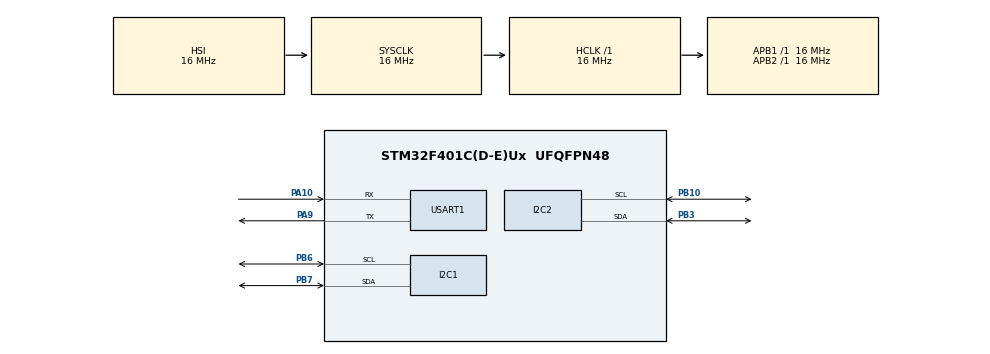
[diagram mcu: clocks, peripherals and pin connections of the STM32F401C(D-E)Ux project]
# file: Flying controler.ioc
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Mcu.Family=STM32F4
Mcu.Name=STM32F401C(D-E)Ux
Mcu.Package=UFQFPN48
NVIC.PriorityGroup=NVIC_PRIORITYGROUP_4
PA10.Mode=Asynchronous
PA10.Signal=USART1_RX
PA9.Mode=Asynchronous
PA9.Signal=USART1_TX
PB10.Mode=I2C
PB10.Signal=I2C2_SCL
PB3.Mode=I2C
PB3.Signal=I2C2_SDA
PB6.Mode=I2C
PB6.Signal=I2C1_SCL
PB7.Mode=I2C
PB7.Signal=I2C1_SDA
ProjectManager.HeapSize=0x200
ProjectManager.StackSize=0x400
ProjectManager.TargetToolchain=STM32CubeIDE
RCC.AHBFreq_Value=16000000
RCC.APB1Freq_Value=16000000
RCC.APB2Freq_Value=16000000
RCC.CortexFreq_Value=16000000
RCC.HSE_VALUE=25000000
RCC.HSI_VALUE=16000000
RCC.LSE_VALUE=32768
RCC.SYSCLKFreq_VALUE=16000000
RCC.VCOOutputFreq_Value=192000000
USART1.VirtualMode=VM_ASYNC
board=custom

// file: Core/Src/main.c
/* USER CODE BEGIN Header */
/**
  ******************************************************************************
  * @file           : main.c
  * @brief          : Main program body
  ******************************************************************************
  * @attention
  *
  * Copyright (c) 2023 STMicroelectronics.
  * All rights reserved.
  *
  * This software is licensed under terms that can be found in the LICENSE file
  * in the root directory of this software component.
  * If no LICENSE file comes with this software, it is provided AS-IS.
  *
  ******************************************************************************
  */
/* USER CODE END Header */
#include "main.h"

I2C_HandleTypeDef hi2c1;
I2C_HandleTypeDef hi2c2;

UART_HandleTypeDef huart1;

void SystemClock_Config(void);
static void MX_GPIO_Init(void);
static void MX_I2C1_Init(void);
static void MX_I2C2_Init(void);
static void MX_USART1_UART_Init(void);

int main(void)
{
  /* USER CODE BEGIN 1 */
	float arr_accel_x, arr_accel_y, arr_accel_z, arr_gyro_x, arr_gyro_y, arr_gyro_z;
	float Kalman_accel_x, Kalman_accel_y, Kalman_accel_z, Kalman_gyro_x, Kalman_gyro_y, Kalman_gyro_z;
	float start_pressure = 0;
	float start_temperature = 0;
	float StartHeight = 0;
	float pressure = 0;
	float temperature = 0;
	float height = 0;
	float DeltaHeight = 0;
	BMP280_CalibData calib_data;
  /* USER CODE END 1 */

  /* MCU Configuration--------------------------------------------------------*/

  /* Reset of all peripherals, Initializes the Flash interface and the Systick. */
  HAL_Init();

  /* Configure the system clock */
  SystemClock_Config();

  /* Initialize all configured peripherals */
  MX_GPIO_Init();
  MX_I2C1_Init();
  MX_I2C2_Init();
  MX_USART1_UART_Init();
  /* USER CODE BEGIN 2 */
  MPU6050_Init();
  BMP280_Init();
  BMP280_ReadCalibrationData(&hi2c2, &calib_data);

  start_temperature = BMP280_ReadTemperature(&hi2c2, &calib_data);
  start_pressure = BMP280_ReadPressure(&hi2c2, &calib_data);

  Setup (&start_pressure, &start_temperature, &StartHeight);
  /* USER CODE END 2 */

  /* Infinite loop */
  while (1)
  {

    /* USER CODE BEGIN 3 */
	MPU6050_Read_Accel(&arr_accel_x, &arr_accel_y, &arr_accel_z, &Kalman_accel_x, &Kalman_accel_y, &Kalman_accel_z);
	MPU6050_Read_Gyro(&arr_gyro_x, &arr_gyro_y, &arr_gyro_z, &Kalman_gyro_x, &Kalman_gyro_y, &Kalman_gyro_z);

	pressure = BMP280_ReadPressure(&hi2c2, &calib_data);
	temperature = BMP280_ReadTemperature (&hi2c2, &calib_data);

	Delta_Height (&StartHeight, &height, &DeltaHeight, &pressure, &temperature);

	Transmit_Data (&arr_accel_x, &arr_accel_y, &arr_accel_z, &arr_gyro_x, &arr_gyro_y, &arr_gyro_z, &Kalman_accel_x, &Kalman_accel_y, &Kalman_accel_z, &Kalman_gyro_x, &Kalman_gyro_y, &Kalman_gyro_z, &start_pressure, &start_temperature, &StartHeight, &pressure, &temperature, &height, &DeltaHeight);
  }
  /* USER CODE END 3 */
}

void SystemClock_Config(void)
{
  RCC_OscInitTypeDef RCC_OscInitStruct = {0};
  RCC_ClkInitTypeDef RCC_ClkInitStruct = {0};

  /** Configure the main internal regulator output voltage
  */
  __HAL_RCC_PWR_CLK_ENABLE();
  __HAL_PWR_VOLTAGESCALING_CONFIG(PWR_REGULATOR_VOLTAGE_SCALE2);

  /** Initializes the RCC Oscillators according to the specified parameters
  * in the RCC_OscInitTypeDef structure.
  */
  RCC_OscInitStruct.OscillatorType = RCC_OSCILLATORTYPE_HSI;
  RCC_OscInitStruct.HSIState = RCC_HSI_ON;
  RCC_OscInitStruct.HSICalibrationValue = RCC_HSICALIBRATION_DEFAULT;
  RCC_OscInitStruct.PLL.PLLState = RCC_PLL_NONE;
  if (HAL_RCC_OscConfig(&RCC_OscInitStruct) != HAL_OK)
  {
    Error_Handler();
  }

  /** Initializes the CPU, AHB and APB buses clocks
  */
  RCC_ClkInitStruct.ClockType = RCC_CLOCKTYPE_HCLK|RCC_CLOCKTYPE_SYSCLK
                              |RCC_CLOCKTYPE_PCLK1|RCC_CLOCKTYPE_PCLK2;
  RCC_ClkInitStruct.SYSCLKSource = RCC_SYSCLKSOURCE_HSI;
  RCC_ClkInitStruct.AHBCLKDivider = RCC_SYSCLK_DIV1;
  RCC_ClkInitStruct.APB1CLKDivider = RCC_HCLK_DIV1;
  RCC_ClkInitStruct.APB2CLKDivider = RCC_HCLK_DIV1;

  if (HAL_RCC_ClockConfig(&RCC_ClkInitStruct, FLASH_LATENCY_0) != HAL_OK)
  {
    Error_Handler();
  }
}

static void MX_I2C1_Init(void)
{

  hi2c1.Instance = I2C1;
  hi2c1.Init.ClockSpeed = 100000;
  hi2c1.Init.DutyCycle = I2C_DUTYCYCLE_2;
  hi2c1.Init.OwnAddress1 = 0;
  hi2c1.Init.AddressingMode = I2C_ADDRESSINGMODE_7BIT;
  hi2c1.Init.DualAddressMode = I2C_DUALADDRESS_DISABLE;
  hi2c1.Init.OwnAddress2 = 0;
  hi2c1.Init.GeneralCallMode = I2C_GENERALCALL_DISABLE;
  hi2c1.Init.NoStretchMode = I2C_NOSTRETCH_DISABLE;
  if (HAL_I2C_Init(&hi2c1) != HAL_OK)
  {
    Error_Handler();
  }

}

static void MX_I2C2_Init(void)
{

  hi2c2.Instance = I2C2;
  hi2c2.Init.ClockSpeed = 100000;
  hi2c2.Init.DutyCycle = I2C_DUTYCYCLE_2;
  hi2c2.Init.OwnAddress1 = 0;
  hi2c2.Init.AddressingMode = I2C_ADDRESSINGMODE_7BIT;
  hi2c2.Init.DualAddressMode = I2C_DUALADDRESS_DISABLE;
  hi2c2.Init.OwnAddress2 = 0;
  hi2c2.Init.GeneralCallMode = I2C_GENERALCALL_DISABLE;
  hi2c2.Init.NoStretchMode = I2C_NOSTRETCH_DISABLE;
  if (HAL_I2C_Init(&hi2c2) != HAL_OK)
  {
    Error_Handler();
  }

}

static void MX_USART1_UART_Init(void)
{

  huart1.Instance = USART1;
  huart1.Init.BaudRate = 115200;
  huart1.Init.WordLength = UART_WORDLENGTH_8B;
  huart1.Init.StopBits = UART_STOPBITS_1;
  huart1.Init.Parity = UART_PARITY_NONE;
  huart1.Init.Mode = UART_MODE_TX_RX;
  huart1.Init.HwFlowCtl = UART_HWCONTROL_NONE;
  huart1.Init.OverSampling = UART_OVERSAMPLING_16;
  if (HAL_UART_Init(&huart1) != HAL_OK)
  {
    Error_Handler();
  }

}

static void MX_GPIO_Init(void)
{

  /* GPIO Ports Clock Enable */
  __HAL_RCC_GPIOB_CLK_ENABLE();
  __HAL_RCC_GPIOA_CLK_ENABLE();

}

void Error_Handler(void)
{
  __disable_irq();
  while (1)
  {
  }
}
